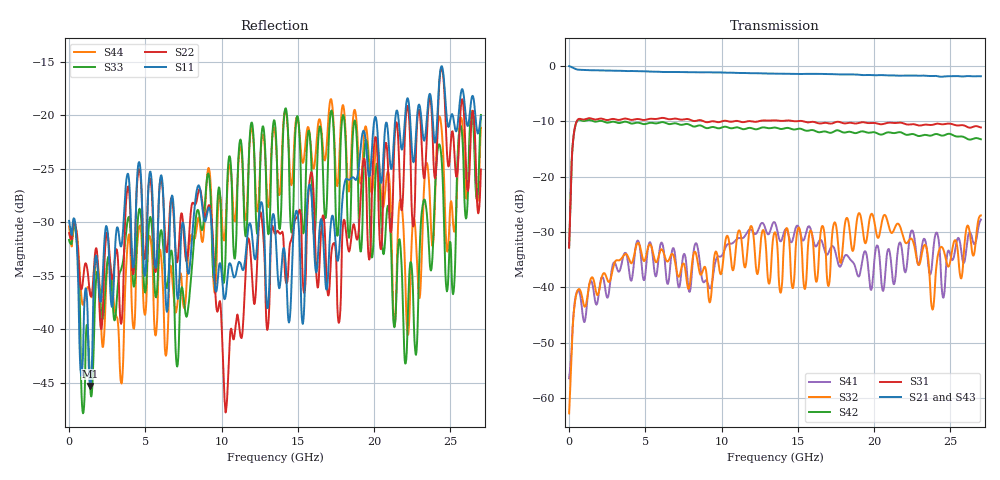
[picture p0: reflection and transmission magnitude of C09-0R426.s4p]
! MARKI MICROWAVE INC.
! Email:  info@markimicrowave.com  Phone:  408-778-4200
! Model Number:  C09-0R426  Date:  02/15
! Filename:		C09_0R426.S4P  Version: 1.0
! Description:  4-port S-parameter data for Directional Coupler C09-0R426
! Frequency Range: 	10 MHz to 27 GHz
! Port Configuration:	PORT 1: Input
!  PORT 2: Output
!  Port 3: Coupled
!  Port 4: Isolated
! S4P File: Measurements: Mag<S11> Ang<S11> Mag<S12> Ang<S12> Mag<S13> Ang<S13> Mag<S14> Ang<S14>! row 1
!  Mag<S21> Ang<S21> Mag<S22> Ang<S22> Mag<S23> Ang<S23> Mag<S24> Ang<S24>! row 2
!  Mag<S31> Ang<S31> Mag<S32> Ang<S32> Mag<S33> Ang<S33> Mag<S34> Ang<S34>! row 3
!  Mag<S41> Ang<S41> Mag<S42> Ang<S42> Mag<S43> Ang<S43> Mag<S44> Ang<S44>! row 4
# Hz S DB R 50
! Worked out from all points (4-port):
!   801 points, 10 MHz to 27 GHz, reference 50 ohm
!   strongest paths, dB at 10 MHz, 6.758 GHz, 13.51 GHz, 20.25 GHz, 27 GHz:
!     S21: 0.0, -1.1, -1.4, -1.7, -1.9
!     S43: -0.1, -1.1, -1.4, -1.6, -1.9
!     S31: -32.9, -9.6, -9.8, -10.5, -11.1
!     S42: -32.7, -10.4, -11.1, -12.3, -13.2
!     S32: -62.8, -34.0, -30.1, -31.1, -27.0
!     S41: -56.4, -33.4, -28.3, -32.7, -27.8
!   lowest |S11| = -45.3 dB at 1.393 GHz (marker M1), VSWR 1.01, Z = 49.5 + j0.166 ohm
!   |S11| at or under -10 dB: start of sweep to end of sweep
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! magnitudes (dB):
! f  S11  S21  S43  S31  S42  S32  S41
! 10 MHz  -29.8  0.0  -0.1  -32.9  -32.7  -62.8  -56.4
! 1.393 GHz  -45.3  -0.8  -0.8  -9.5  -9.8  -38.7  -39.0
! 4.598 GHz  -24.4  -1.0  -0.9  -9.6  -10.3  -32.2  -32.0
! 10.3 GHz  -36.5  -1.2  -1.2  -9.9  -11.0  -31.0  -32.6
! 14.21 GHz  -34.0  -1.4  -1.5  -9.9  -11.2  -29.5  -29.5
! 22.07 GHz  -19.4  -1.8  -1.7  -10.5  -12.4  -32.0  -37.2
! 27 GHz  -20.1  -1.9  -1.9  -11.1  -13.2  -27.0  -27.8
